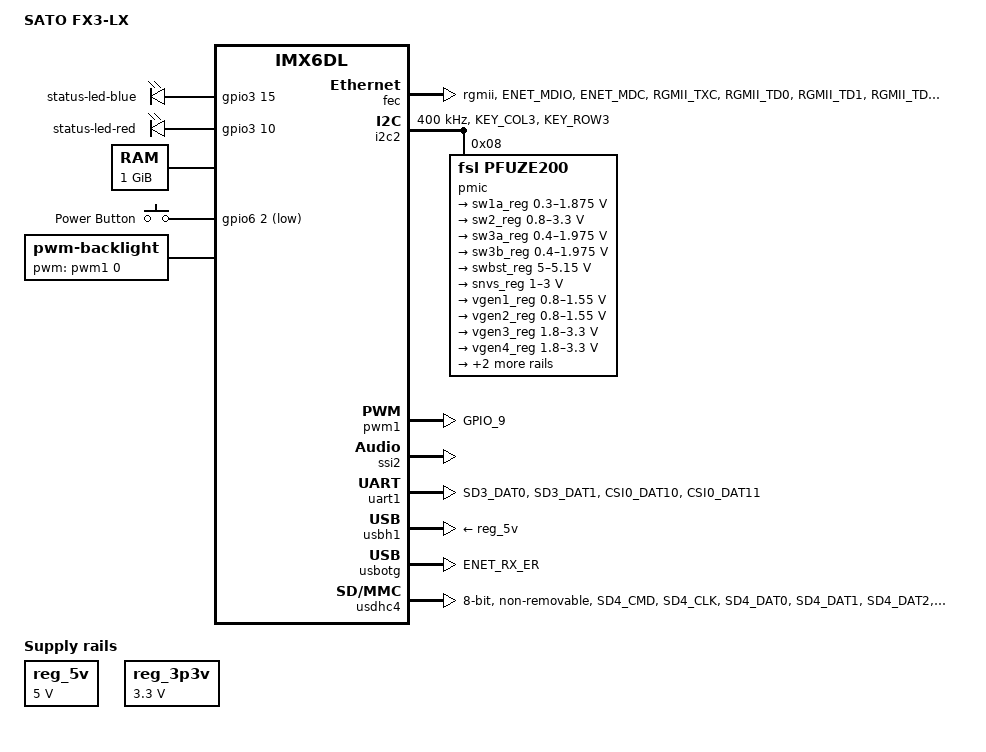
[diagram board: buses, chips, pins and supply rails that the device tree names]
/*
 * Copyright (C) 2013-2015 Freescale Semiconductor, Inc.
 * Copyright (C) 2018 SATO Corporation.
 *
 * This program is free software; you can redistribute it and/or modify
 * it under the terms of the GNU General Public License version 2 as
 * published by the Free Software Foundation.
 */

/dts-v1/;

#include <dt-bindings/gpio/gpio.h>
#include <dt-bindings/input/input.h>

#include "imx6dl.dtsi"

/ {
	model = "SATO FX3-LX";
	compatible = "sato,imx6dl-fx3lx", "fsl,imx6dl";

	aliases {
		mxcfb0 = &mxcfb1;
	};

	chosen {
		stdout-path = &uart1;
	};

	leds {
		compatible = "gpio-leds";
		pinctrl-names = "default";
		pinctrl-0 = <&pinctrl_leds>;

		status-led-blue {
			gpios = <&gpio3 15 GPIO_ACTIVE_HIGH>;
			retain-state-suspended;
		};

		status-led-red {
			gpios = <&gpio3 10 GPIO_ACTIVE_HIGH>;
			retain-state-suspended;
		};
	};

	memory: memory {
		reg = <0x10000000 0x40000000>;
	};

	regulators {
		compatible = "simple-bus";
		#address-cells = <1>;
		#size-cells = <0>;

		reg_5v: fixedregulator@0 {
			compatible = "regulator-fixed";
			reg = <0>;
			regulator-name = "fixed-5V";
			regulator-min-microvolt = <5000000>;
			regulator-max-microvolt = <5000000>;
			regulator-boot-on;
		};

		reg_3p3v: fixedregulator@1 {
			compatible = "regulator-fixed";
			reg = <1>;
			regulator-name = "fixed-3.3V";
			regulator-min-microvolt = <3300000>;
			regulator-max-microvolt = <3300000>;
			regulator-boot-on;
			regulator-always-on;
		};
	};

	gpio-keys {
		compatible = "gpio-keys";
		pinctrl-names = "default";
		pinctrl-0 = <&pinctrl_gpio_keys>;

		power {
			label = "Power Button";
			gpios = <&gpio6 2 GPIO_ACTIVE_LOW>;
			gpio-key,wakeup;
			linux,code = <KEY_POWER>;
		};
	};

	mxcfb1: fb@0 {
		compatible = "fsl,mxc_sdc_fb";
		disp_dev = "lcd";
		interface_pix_fmt = "RGB24";
		default_bpp = <32>;
		int_clk = <0>;
		late_init = <0>;
		status = "okay";
	};

	lcd@0 {
		compatible = "fsl,lcd";
		ipu_id = <0>;
		disp_id = <0>;
		default_ifmt = "RGB24";
		pinctrl-names = "default";
		pinctrl-0 = <&pinctrl_ipu1>;
		status = "okay";
	};

	backlight {
		compatible = "pwm-backlight";
		pwms = <&pwm1 0 5000000>;
		brightness-levels = <255 128 64 32 16 8 4 0>;
		default-brightness-level = <7>;
		status = "okay";
	};
};

&cpu0 {
	arm-supply = <&sw1a_reg>;
	soc-supply = <&sw1a_reg>;
};

&clks {
	fsl,ldb-di0-parent = <&clks IMX6QDL_CLK_PLL2_PFD0_352M>;
	fsl,ldb-di1-parent = <&clks IMX6QDL_CLK_PLL2_PFD0_352M>;
};

&fec {
	pinctrl-names = "default";
	pinctrl-0 = <&pinctrl_enet>;
	phy-mode = "rgmii";
	phy-reset-gpios = <&gpio1 26 0>;
	fsl,magic-packet;
	status = "okay";
};

&gpc {
	fsl,ldo-bypass = <1>;
};

&i2c2 {
	clock-frequency = <400000>;
	pinctrl-names = "default";
	pinctrl-0 = <&pinctrl_i2c2>;
	status = "okay";

	pmic: pfuze100@08 {
		compatible = "fsl,pfuze200";
		reg = <0x08>;

		regulators {
			sw1a_reg: sw1ab {
				regulator-min-microvolt = <300000>;
				regulator-max-microvolt = <1875000>;
				regulator-boot-on;
				regulator-always-on;
				regulator-ramp-delay = <6250>;
			};

			sw2_reg: sw2 {
				regulator-min-microvolt = <800000>;
				regulator-max-microvolt = <3300000>;
				regulator-boot-on;
				regulator-always-on;
			};

			sw3a_reg: sw3a {
				regulator-min-microvolt = <400000>;
				regulator-max-microvolt = <1975000>;
				regulator-boot-on;
				regulator-always-on;
			};

			sw3b_reg: sw3b {
				regulator-min-microvolt = <400000>;
				regulator-max-microvolt = <1975000>;
				regulator-boot-on;
				regulator-always-on;
			};

			swbst_reg: swbst {
				regulator-min-microvolt = <5000000>;
				regulator-max-microvolt = <5150000>;
			};

			snvs_reg: vsnvs {
				regulator-min-microvolt = <1000000>;
				regulator-max-microvolt = <3000000>;
				regulator-boot-on;
				regulator-always-on;
			};

			vref_reg: vrefddr {
				regulator-boot-on;
				regulator-always-on;
			};

			vgen1_reg: vgen1 {
				regulator-min-microvolt = <800000>;
				regulator-max-microvolt = <1550000>;
			};

			vgen2_reg: vgen2 {
				regulator-min-microvolt = <800000>;
				regulator-max-microvolt = <1550000>;
			};

			vgen3_reg: vgen3 {
				regulator-min-microvolt = <1800000>;
				regulator-max-microvolt = <3300000>;
				regulator-always-on;
			};

			vgen4_reg: vgen4 {
				regulator-min-microvolt = <1800000>;
				regulator-max-microvolt = <3300000>;
				regulator-always-on;
			};

			vgen5_reg: vgen5 {
				regulator-min-microvolt = <1800000>;
				regulator-max-microvolt = <3300000>;
				regulator-always-on;
			};

			vgen6_reg: vgen6 {
				regulator-min-microvolt = <1800000>;
				regulator-max-microvolt = <3300000>;
				regulator-always-on;
			};
		};
	};
};

&iomuxc {
	pinctrl-names = "default";
	pinctrl-0 = <&pinctrl_gpio1 &pinctrl_gpio2
			&pinctrl_gpio3 &pinctrl_gpio4
			&pinctrl_gpio5 &pinctrl_gpio6
			&pinctrl_gpio7>;

	imx6dl-fx3lx {

		pinctrl_ipu1: ipu1grp {
			fsl,pins = <
				MX6QDL_PAD_DI0_DISP_CLK__IPU1_DI0_DISP_CLK	0x10
				MX6QDL_PAD_DI0_PIN2__IPU1_DI0_PIN02		0x80000000
				MX6QDL_PAD_DI0_PIN3__IPU1_DI0_PIN03		0x80000000
				MX6QDL_PAD_DISP0_DAT0__IPU1_DISP0_DATA00	0x10
				MX6QDL_PAD_DISP0_DAT1__IPU1_DISP0_DATA01	0x10
				MX6QDL_PAD_DISP0_DAT2__IPU1_DISP0_DATA02	0x10
				MX6QDL_PAD_DISP0_DAT3__IPU1_DISP0_DATA03	0x10
				MX6QDL_PAD_DISP0_DAT4__IPU1_DISP0_DATA04	0x10
				MX6QDL_PAD_DISP0_DAT5__IPU1_DISP0_DATA05	0x10
				MX6QDL_PAD_DISP0_DAT6__IPU1_DISP0_DATA06	0x10
				MX6QDL_PAD_DISP0_DAT7__IPU1_DISP0_DATA07	0x10
				MX6QDL_PAD_DISP0_DAT8__IPU1_DISP0_DATA08	0x10
				MX6QDL_PAD_DISP0_DAT9__IPU1_DISP0_DATA09	0x10
				MX6QDL_PAD_DISP0_DAT10__IPU1_DISP0_DATA10	0x10
				MX6QDL_PAD_DISP0_DAT11__IPU1_DISP0_DATA11	0x10
				MX6QDL_PAD_DISP0_DAT12__IPU1_DISP0_DATA12	0x10
				MX6QDL_PAD_DISP0_DAT13__IPU1_DISP0_DATA13	0x10
				MX6QDL_PAD_DISP0_DAT14__IPU1_DISP0_DATA14	0x10
				MX6QDL_PAD_DISP0_DAT15__IPU1_DISP0_DATA15	0x10
				MX6QDL_PAD_DISP0_DAT16__IPU1_DISP0_DATA16	0x10
				MX6QDL_PAD_DISP0_DAT17__IPU1_DISP0_DATA17	0x10
				MX6QDL_PAD_DISP0_DAT18__IPU1_DISP0_DATA18	0x10
				MX6QDL_PAD_DISP0_DAT19__IPU1_DISP0_DATA19	0x10
				MX6QDL_PAD_DISP0_DAT20__IPU1_DISP0_DATA20	0x10
				MX6QDL_PAD_DISP0_DAT21__IPU1_DISP0_DATA21	0x10
				MX6QDL_PAD_DISP0_DAT22__IPU1_DISP0_DATA22	0x10
				MX6QDL_PAD_DISP0_DAT23__IPU1_DISP0_DATA23	0x10
			>;
		};

		pinctrl_enet: enetgrp {
			fsl,pins = <
				MX6QDL_PAD_ENET_MDIO__ENET_MDIO		0x1b0b0
				MX6QDL_PAD_ENET_MDC__ENET_MDC		0x1b0b0
				MX6QDL_PAD_RGMII_TXC__RGMII_TXC		0x1b0b0
				MX6QDL_PAD_RGMII_TD0__RGMII_TD0		0x1b0b0
				MX6QDL_PAD_RGMII_TD1__RGMII_TD1		0x1b0b0
				MX6QDL_PAD_RGMII_TD2__RGMII_TD2		0x1b0b0
				MX6QDL_PAD_RGMII_TD3__RGMII_TD3		0x1b0b0
				MX6QDL_PAD_RGMII_TX_CTL__RGMII_TX_CTL	0x1b0b0
				MX6QDL_PAD_ENET_REF_CLK__ENET_TX_CLK	0x1b0b0
				MX6QDL_PAD_RGMII_RXC__RGMII_RXC		0x1b0b0
				MX6QDL_PAD_RGMII_RD0__RGMII_RD0		0x1b0b0
				MX6QDL_PAD_RGMII_RD1__RGMII_RD1		0x1b0b0
				MX6QDL_PAD_RGMII_RD2__RGMII_RD2		0x1b0b0
				MX6QDL_PAD_RGMII_RD3__RGMII_RD3		0x1b0b0
				MX6QDL_PAD_RGMII_RX_CTL__RGMII_RX_CTL	0x1b0b0
				MX6QDL_PAD_ENET_RXD1__GPIO1_IO26	0x80000000
			>;
		};

		pinctrl_usbotg: usbotggrp {
			fsl,pins = <
				MX6QDL_PAD_ENET_RX_ER__USB_OTG_ID	0x17059
			>;
		};

		pinctrl_pwm1: pwm1grp {
			fsl,pins = <
				MX6QDL_PAD_GPIO_9__PWM1_OUT		0x1b0b1
			>;
		};

		pinctrl_uart1: uart1grp {
			fsl,pins = <
				MX6QDL_PAD_SD3_DAT0__UART1_CTS_B	0x1b0b1
				MX6QDL_PAD_SD3_DAT1__UART1_RTS_B	0x1b0b1
				MX6QDL_PAD_CSI0_DAT10__UART1_TX_DATA	0x1b0b1
				MX6QDL_PAD_CSI0_DAT11__UART1_RX_DATA	0x1b0b1
			>;
		};

		pinctrl_i2c2: i2c2grp {
			fsl,pins = <
				MX6QDL_PAD_KEY_COL3__I2C2_SCL		0x4001b8b1
				MX6QDL_PAD_KEY_ROW3__I2C2_SDA		0x4001b8b1
			>;
		};

		pinctrl_backlight: backlight_en_gpio {
			fsl,pins = <
				MX6QDL_PAD_EIM_DA14__GPIO3_IO14		0x80000000
			>;
		};

		pinctrl_lcd: lcd_en_gpio {
			fsl,pins = <
				MX6QDL_PAD_EIM_A23__GPIO6_IO06		0x80000000
			>;
		};

		pinctrl_leds: leds_gpio {
			fsl,pins = <
				MX6QDL_PAD_EIM_DA10__GPIO3_IO10		0x80000000
				MX6QDL_PAD_EIM_DA15__GPIO3_IO15		0x80000000
			>;
		};

		pinctrl_gpio_keys: gpio_keysgrp {
			fsl,pins = <
				MX6QDL_PAD_CSI0_DAT16__GPIO6_IO02	0x80000000
			>;
		};

		pinctrl_codec: codec_en_gpio {
			fsl,pins = <
				MX6QDL_PAD_EIM_D31__GPIO3_IO31		0x80000000
			>;
		};

		pinctrl_ts: tsgrp {
			fsl,pins = <
				MX6QDL_PAD_GPIO_0__GPIO1_IO00		0x1b0b0
			>;
		};

		pinctrl_reg_usbhub: regusbhubgrp {
			fsl,pins = <
				MX6QDL_PAD_ENET_TXD0__GPIO1_IO30	0x80000000
				MX6QDL_PAD_EIM_DA13__GPIO3_IO13		0x80000000
			>;
		};

		pinctrl_usdhc4: usdhc4grp {
			fsl,pins = <
				MX6QDL_PAD_SD4_CMD__SD4_CMD		0x17059
				MX6QDL_PAD_SD4_CLK__SD4_CLK		0x10059
				MX6QDL_PAD_SD4_DAT0__SD4_DATA0		0x17059
				MX6QDL_PAD_SD4_DAT1__SD4_DATA1		0x17059
				MX6QDL_PAD_SD4_DAT2__SD4_DATA2		0x17059
				MX6QDL_PAD_SD4_DAT3__SD4_DATA3		0x17059
				MX6QDL_PAD_SD4_DAT4__SD4_DATA4		0x17059
				MX6QDL_PAD_SD4_DAT5__SD4_DATA5		0x17059
				MX6QDL_PAD_SD4_DAT6__SD4_DATA6		0x17059
				MX6QDL_PAD_SD4_DAT7__SD4_DATA7		0x17059
			>;
		};

		pinctrl_reg_charger: chargergrp {
			fsl,pins = <
				MX6QDL_PAD_EIM_D20__GPIO3_IO20		0x80000000
			>;
		};

		pinctrl_ac: acchargergrp {
			fsl,pins = <
				MX6QDL_PAD_EIM_D29__GPIO3_IO29		0x1b0b0
			>;
		};

		pinctrl_cradle: cradlechargergrp {
			fsl,pins = <
				MX6QDL_PAD_EIM_D30__GPIO3_IO30		0x1b0b0
			>;
		};

		pinctrl_gpio1: gpio1grp {
			fsl,pins = <
				MX6QDL_PAD_GPIO_8__GPIO1_IO08		0x1b0b0
				MX6QDL_PAD_SD1_CMD__GPIO1_IO18		0x1b0b0
				MX6QDL_PAD_SD1_DAT2__GPIO1_IO19		0x1b0b0
				MX6QDL_PAD_SD1_CLK__GPIO1_IO20		0x1b0b0
				MX6QDL_PAD_SD1_DAT3__GPIO1_IO21		0x1b0b0
				MX6QDL_PAD_ENET_RXD0__GPIO1_IO27	0x80000000
				MX6QDL_PAD_ENET_TX_EN__GPIO1_IO28	0x1b0b0
				MX6QDL_PAD_ENET_TXD1__GPIO1_IO29	0x80000000
			>;
		};

		pinctrl_gpio2: gpio2grp {
			fsl,pins = <
				MX6QDL_PAD_NANDF_D0__GPIO2_IO00		0x1b0b0
				MX6QDL_PAD_NANDF_D1__GPIO2_IO01		0x80000000
				MX6QDL_PAD_NANDF_D2__GPIO2_IO02		0x80000000
				MX6QDL_PAD_NANDF_D3__GPIO2_IO03		0x1b0b0
				MX6QDL_PAD_NANDF_D4__GPIO2_IO04		0x1b0b0
				MX6QDL_PAD_NANDF_D5__GPIO2_IO05		0x80000000
				MX6QDL_PAD_NANDF_D6__GPIO2_IO06		0x1b0b0
				MX6QDL_PAD_NANDF_D7__GPIO2_IO07		0x1b0b0
				MX6QDL_PAD_EIM_A22__GPIO2_IO16		0x80000000
				MX6QDL_PAD_EIM_A21__GPIO2_IO17		0x80000000
				MX6QDL_PAD_EIM_A20__GPIO2_IO18		0x80000000
				MX6QDL_PAD_EIM_A19__GPIO2_IO19		0x80000000
				MX6QDL_PAD_EIM_A18__GPIO2_IO20		0x80000000
				MX6QDL_PAD_EIM_A17__GPIO2_IO21		0x80000000
				MX6QDL_PAD_EIM_A16__GPIO2_IO22		0x80000000
				MX6QDL_PAD_EIM_LBA__GPIO2_IO27		0x1b0b0
				MX6QDL_PAD_EIM_EB0__GPIO2_IO28		0x80000000
				MX6QDL_PAD_EIM_EB1__GPIO2_IO29		0x80000000
			>;
		};

		pinctrl_gpio3: gpio3grp {
			fsl,pins = <
				MX6QDL_PAD_EIM_DA8__GPIO3_IO08		0x80000000
				MX6QDL_PAD_EIM_DA9__GPIO3_IO09		0x80000000
				MX6QDL_PAD_EIM_DA11__GPIO3_IO11		0x80000000
				MX6QDL_PAD_EIM_DA12__GPIO3_IO12		0x80000000
				MX6QDL_PAD_EIM_D22__GPIO3_IO22		0x80000000
				MX6QDL_PAD_EIM_D27__GPIO3_IO27		0x1b0b0
			>;
		};

		pinctrl_gpio4: gpio4grp {
			fsl,pins = <
				MX6QDL_PAD_GPIO_19__GPIO4_IO05		0x1b0b0
				MX6QDL_PAD_KEY_ROW2__GPIO4_IO11		0x1b0b0
				MX6QDL_PAD_KEY_COL4__GPIO4_IO14		0x1b0b0
				MX6QDL_PAD_KEY_ROW4__GPIO4_IO15		0x80000000
				MX6QDL_PAD_DI0_PIN15__GPIO4_IO17	0x1b0b0
				MX6QDL_PAD_DI0_PIN4__GPIO4_IO20		0x1b0b0
			>;
		};

		pinctrl_gpio5: gpio5grp {
			fsl,pins = <
				MX6QDL_PAD_EIM_A25__GPIO5_IO02		0x1b0b0
				MX6QDL_PAD_EIM_A24__GPIO5_IO04		0x80000000
				MX6QDL_PAD_CSI0_PIXCLK__GPIO5_IO18	0x80000000
				MX6QDL_PAD_CSI0_MCLK__GPIO5_IO19	0x1b0b0
				MX6QDL_PAD_CSI0_DAT12__GPIO5_IO30	0x80000000
				MX6QDL_PAD_CSI0_DAT13__GPIO5_IO31	0x80000000
			>;
		};

		pinctrl_gpio6: gpio6grp {
			fsl,pins = <
				MX6QDL_PAD_CSI0_DAT17__GPIO6_IO03	0x1b0b0
				MX6QDL_PAD_NANDF_CLE__GPIO6_IO07	0x80000000
				MX6QDL_PAD_NANDF_ALE__GPIO6_IO08	0x1b0b0
				MX6QDL_PAD_NANDF_WP_B__GPIO6_IO09	0x1b0b0
				MX6QDL_PAD_NANDF_RB0__GPIO6_IO10	0x1b0b0
				MX6QDL_PAD_NANDF_CS2__GPIO6_IO15	0x1b0b0
				MX6QDL_PAD_SD3_DAT7__GPIO6_IO17		0x80000000
				MX6QDL_PAD_SD3_DAT6__GPIO6_IO18		0x1b0b0
			>;
		};

		pinctrl_gpio7: gpio7grp {
			fsl,pins = <
				MX6QDL_PAD_SD3_DAT2__GPIO7_IO06		0x1b0b0
				MX6QDL_PAD_SD3_DAT3__GPIO7_IO07		0x1b0b0
				MX6QDL_PAD_SD3_RST__GPIO7_IO08		0x1b0b0
				MX6QDL_PAD_GPIO_18__GPIO7_IO13		0x1b0b0
			>;
		};
	};
};

&pwm1 {
	pinctrl-names = "default";
	pinctrl-0 = <&pinctrl_pwm1>;
	status = "okay";
};

&ssi2 {
	status = "okay";
};

&uart1 {
	pinctrl-names = "default";
	pinctrl-0 = <&pinctrl_uart1>;
	status = "okay";
};

&usbh1 {
	vbus-supply = <&reg_5v>;
	status = "okay";
};

&usbotg {
	/* NOTE: no vbus-supply so it cannot act as host */
	pinctrl-names = "default";
	pinctrl-0 = <&pinctrl_usbotg>;
	disable-over-current;
	srp-disable;
	hnp-disable;
	adp-disable;
	status = "okay";
};

&usbphy1 {
	tx-d-cal = <0x5>;
};

&usbphy2 {
	tx-d-cal = <0x5>;
};

&usdhc4 {
	pinctrl-names = "default";
	pinctrl-0 = <&pinctrl_usdhc4>;
	bus-width = <8>;
	non-removable;
	no-1-8-v;
	keep-power-in-suspend;
	status = "okay";
};
